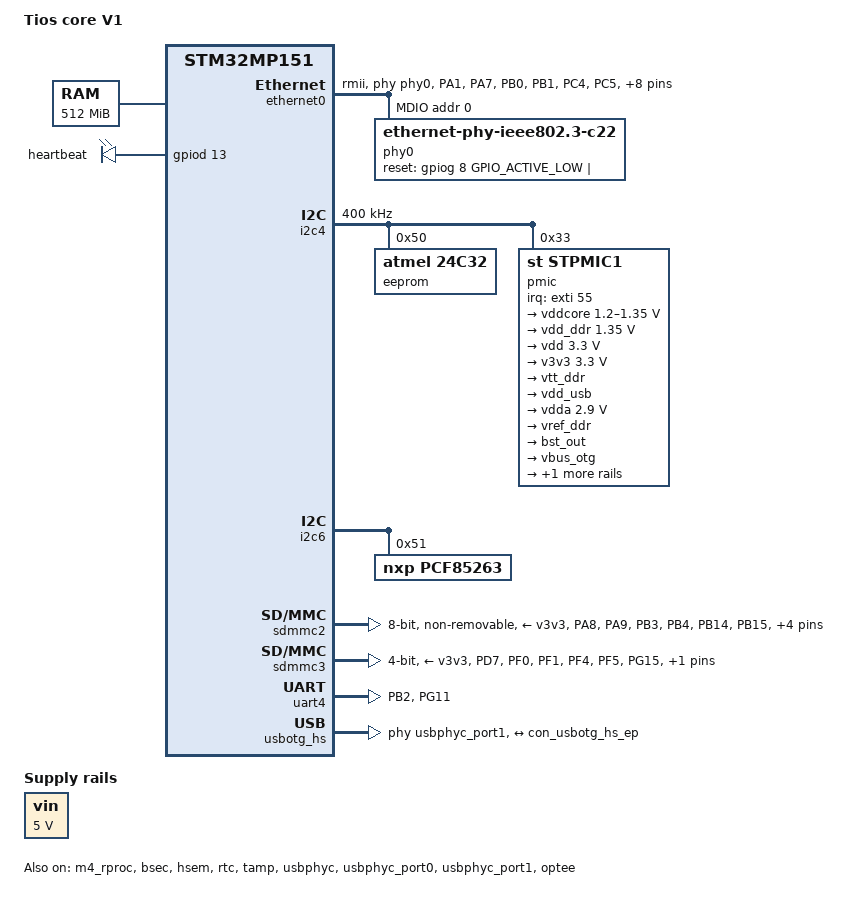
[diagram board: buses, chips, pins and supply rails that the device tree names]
// SPDX-License-Identifier: (GPL-2.0-or-later OR BSD-3-Clause)
/*
 * Copyright (C) 2023, STMicroelectronics - All Rights Reserved
 * Author: STM32CubeMX code generation for STMicroelectronics.
 */

/* For more information on Device Tree configuration, please refer to
 * https://wiki.st.com/stm32mpu/wiki/Category:Device_tree_configuration
 */

/dts-v1/;
/* These need to be at the start */
#include <dt-bindings/pinctrl/stm32-pinfunc.h>

/* Don't think the order matters */
#include "stm32mp151.dtsi"
#include "stm32mp15xa.dtsi"
#include "stm32mp15xxac-pinctrl.dtsi"
#include "stm32mp15-m4-srm.dtsi"

#include "stm32mp151a-tios-scmi.dtsi"
#include <dt-bindings/mfd/st,stpmic1.h>


/ {
	model = "Tios core V1";
	compatible = "st,stm32mp151a-tios-mx", "st,stm32mp151";

	aliases {
		serial0 = &uart4;
	};
	chosen {
		stdout-path = "serial0:115200n8";
	};
	
	memory@c0000000 {
		device_type = "memory";
		reg = <0xc0000000 0x20000000>;
	};

	reserved-memory {
		#address-cells = <1>;
		#size-cells = <1>;
		ranges;
	};

	led {
		compatible = "gpio-leds";
		led-blue {
			label = "heartbeat";
			gpios = <&gpiod 13 GPIO_ACTIVE_HIGH>;
			linux,default-trigger = "heartbeat";
			default-state = "off";
		};
	};

	vin: vin {
		compatible = "regulator-fixed";
		regulator-name = "vin";
		regulator-min-microvolt = <5000000>;
		regulator-max-microvolt = <5000000>;
		regulator-always-on;
	};

	clocks{
	};

}; /*root*/

&pinctrl {
	/* ETHERNET */
	eth1_pins_mx: eth1_mx-0 {
		pins1 {
			pinmux = <STM32_PINMUX('A', 1, AF11)>, /* ETH1_RX_CLK */
					 <STM32_PINMUX('A', 7, AF11)>, /* ETH1_RX_CTL */
					 <STM32_PINMUX('B', 0, AF11)>, /* ETH1_RXD2 */
					 <STM32_PINMUX('B', 1, AF11)>, /* ETH1_RXD3 */
					 <STM32_PINMUX('C', 4, AF11)>, /* ETH1_RXD0 */
					 <STM32_PINMUX('C', 5, AF11)>; /* ETH1_RXD1 */
			bias-disable;
		};
		pins2 {
			pinmux = <STM32_PINMUX('A', 2, AF11)>; /* ETH1_MDIO */
			bias-disable;
			drive-push-pull;
			slew-rate = <0>;
		};
		pins3 {
			pinmux = <STM32_PINMUX('B', 11, AF11)>, /* ETH1_TX_CTL */
					 <STM32_PINMUX('C', 1, AF11)>, /* ETH1_MDC */
					 <STM32_PINMUX('C', 2, AF11)>, /* ETH1_TXD2 */
					 <STM32_PINMUX('E', 2, AF11)>, /* ETH1_TXD3 */
					 <STM32_PINMUX('G', 4, AF11)>, /* ETH1_GTX_CLK */
					 <STM32_PINMUX('G', 13, AF11)>, /* ETH1_TXD0 */
					 <STM32_PINMUX('G', 14, AF11)>; /* ETH1_TXD1 */
			bias-disable;
			drive-push-pull;
			slew-rate = <2>;
		};
	};

	eth1_sleep_pins_mx: eth1_sleep_mx-0 {
		pins {
			pinmux = <STM32_PINMUX('A', 1, ANALOG)>, /* ETH1_RX_CLK */
					 <STM32_PINMUX('A', 2, ANALOG)>, /* ETH1_MDIO */
					 <STM32_PINMUX('A', 7, ANALOG)>, /* ETH1_RX_CTL */
					 <STM32_PINMUX('B', 0, ANALOG)>, /* ETH1_RXD2 */
					 <STM32_PINMUX('B', 1, ANALOG)>, /* ETH1_RXD3 */
					 <STM32_PINMUX('B', 11, ANALOG)>, /* ETH1_TX_CTL */
					 <STM32_PINMUX('C', 1, ANALOG)>, /* ETH1_MDC */
					 <STM32_PINMUX('C', 2, ANALOG)>, /* ETH1_TXD2 */
					 <STM32_PINMUX('C', 4, ANALOG)>, /* ETH1_RXD0 */
					 <STM32_PINMUX('C', 5, ANALOG)>, /* ETH1_RXD1 */
					 <STM32_PINMUX('E', 2, ANALOG)>, /* ETH1_TXD3 */
					 <STM32_PINMUX('G', 4, ANALOG)>, /* ETH1_GTX_CLK */
					 <STM32_PINMUX('G', 13, ANALOG)>, /* ETH1_TXD0 */
					 <STM32_PINMUX('G', 14, ANALOG)>; /* ETH1_TXD1 */
		};
	};
	/* SDMMC2 */
	sdmmc2_pins_mx: sdmmc2_mx-0 {
		pins1 {
			pinmux = <STM32_PINMUX('A', 8, AF9)>,  /* SDMMC2_D4 */
					 <STM32_PINMUX('A', 9, AF10)>, /* SDMMC2_D5 */
					 <STM32_PINMUX('B', 3, AF9)>,  /* SDMMC2_D2 */
					 <STM32_PINMUX('B', 4, AF9)>,  /* SDMMC2_D3 */
					 <STM32_PINMUX('B', 14, AF9)>, /* SDMMC2_D0 */
					 <STM32_PINMUX('B', 15, AF9)>, /* SDMMC2_D1 */
					 <STM32_PINMUX('D', 3, AF9)>,  /* SDMMC2_D7 */
					 <STM32_PINMUX('E', 5, AF9)>,  /* SDMMC2_D6 */
					 <STM32_PINMUX('G', 6, AF10)>; /* SDMMC2_CMD */
			bias-disable;
			drive-push-pull;
			slew-rate = <1>;
		};
		pins2 {
			pinmux = <STM32_PINMUX('E', 3, AF9)>; /* SDMMC2_CK */
			bias-disable;
			drive-push-pull;
			slew-rate = <3>;
		};
	};

	sdmmc2_opendrain_pins_mx: sdmmc2_opendrain_mx-0 {
		pins1 {
			pinmux = <STM32_PINMUX('A', 8, AF9)>,  /* SDMMC2_D4 */
					 <STM32_PINMUX('A', 9, AF10)>, /* SDMMC2_D5 */
					 <STM32_PINMUX('B', 3, AF9)>,  /* SDMMC2_D2 */
					 <STM32_PINMUX('B', 4, AF9)>,  /* SDMMC2_D3 */
					 <STM32_PINMUX('B', 14, AF9)>, /* SDMMC2_D0 */
					 <STM32_PINMUX('B', 15, AF9)>, /* SDMMC2_D1 */
					 <STM32_PINMUX('D', 3, AF9)>,  /* SDMMC2_D7 */
					 <STM32_PINMUX('E', 5, AF9)>;  /* SDMMC2_D6 */
			bias-disable;
			drive-push-pull;
			slew-rate = <1>;
		};
		pins2 {
			pinmux = <STM32_PINMUX('E', 3, AF9)>; /* SDMMC2_CK */
			bias-disable;
			drive-push-pull;
			slew-rate = <3>;
		};
		pins3 {
			pinmux = <STM32_PINMUX('G', 6, AF10)>; /* SDMMC2_CMD */
			bias-disable;
			drive-open-drain;
			slew-rate = <1>;
		};
	};

	sdmmc2_sleep_pins_mx: sdmmc2_sleep_mx-0 {
		pins {
			pinmux = <STM32_PINMUX('A', 8, ANALOG)>,  /* SDMMC2_D4 */
					 <STM32_PINMUX('A', 9, ANALOG)>,  /* SDMMC2_D5 */
					 <STM32_PINMUX('B', 3, ANALOG)>,  /* SDMMC2_D2 */
					 <STM32_PINMUX('B', 4, ANALOG)>,  /* SDMMC2_D3 */
					 <STM32_PINMUX('B', 14, ANALOG)>, /* SDMMC2_D0 */
					 <STM32_PINMUX('B', 15, ANALOG)>, /* SDMMC2_D1 */
					 <STM32_PINMUX('D', 3, ANALOG)>,  /* SDMMC2_D7 */
					 <STM32_PINMUX('E', 3, ANALOG)>,  /* SDMMC2_CK */
					 <STM32_PINMUX('E', 5, ANALOG)>,  /* SDMMC2_D6 */
					 <STM32_PINMUX('G', 6, ANALOG)>;  /* SDMMC2_CMD */
		};
	};
	/* SDMMC3 */
	sdmmc3_pins_mx: sdmmc3_mx-0 {
		pins1 {
			pinmux = <STM32_PINMUX('D', 7, AF10)>,/* SDMMC3_D3 */
					 <STM32_PINMUX('F', 0, AF9)>, /* SDMMC3_D0 */
					 <STM32_PINMUX('F', 1, AF9)>, /* SDMMC3_CMD */
					 <STM32_PINMUX('F', 4, AF9)>, /* SDMMC3_D1 */
					 <STM32_PINMUX('F', 5, AF9)>; /* SDMMC3_D2 */
			bias-disable;
			drive-push-pull;
			slew-rate = <1>;
		};
		pins2 {
			pinmux = <STM32_PINMUX('G', 15, AF10)>; /* SDMMC3_CK */
			bias-disable;
			drive-push-pull;
			slew-rate = <3>;
		};
	};

	sdmmc3_opendrain_pins_mx: sdmmc3_opendrain_mx-0 {
		pins1 {
			pinmux = <STM32_PINMUX('D', 7, AF10)>,/* SDMMC3_D3 */
					 <STM32_PINMUX('F', 0, AF9)>, /* SDMMC3_D0 */
					 <STM32_PINMUX('F', 4, AF9)>, /* SDMMC3_D1 */
					 <STM32_PINMUX('F', 5, AF9)>; /* SDMMC3_D2 */
			bias-disable;
			drive-push-pull;
			slew-rate = <1>;
		};
		pins2 {
			pinmux = <STM32_PINMUX('F', 1, AF9)>; /* SDMMC3_CMD */
			bias-disable;
			drive-open-drain;
			slew-rate = <1>;
		};
		pins3 {
			pinmux = <STM32_PINMUX('G', 15, AF10)>; /* SDMMC3_CK */
			bias-disable;
			drive-push-pull;
			slew-rate = <3>;
		};
	};

	sdmmc3_sleep_pins_mx: sdmmc3_sleep_mx-0 {
		pins {
			pinmux = <STM32_PINMUX('D', 7, ANALOG)>,  /* SDMMC3_D3 */
					 <STM32_PINMUX('F', 0, ANALOG)>,  /* SDMMC3_D0 */
					 <STM32_PINMUX('F', 1, ANALOG)>,  /* SDMMC3_CMD */
					 <STM32_PINMUX('F', 4, ANALOG)>,  /* SDMMC3_D1 */
					 <STM32_PINMUX('F', 5, ANALOG)>,  /* SDMMC3_D2 */
					 <STM32_PINMUX('G', 15, ANALOG)>; /* SDMMC3_CK */
		};
	};
	/* UART4 */
	uart4_pins_mx: uart4_mx-0 {
		pins1 {
			pinmux = <STM32_PINMUX('B', 2, AF8)>; /* UART4_RX */
			bias-disable;
		};
		pins2 {
			pinmux = <STM32_PINMUX('G', 11, AF6)>; /* UART4_TX */
			bias-disable;
			drive-push-pull;
			slew-rate = <0>;
		};
	};

	uart4_idle_pins_mx: uart4_idle_mx-0 {
		pins1 {
			pinmux = <STM32_PINMUX('B', 2, AF8)>; /* UART4_RX */
			bias-disable;
		};
		pins2 {
			pinmux = <STM32_PINMUX('G', 11, ANALOG)>; /* UART4_TX */
		};
	};

	uart4_sleep_pins_mx: uart4_sleep_mx-0 {
		pins {
			pinmux = <STM32_PINMUX('B', 2, ANALOG)>, /* UART4_RX */
					 <STM32_PINMUX('G', 11, ANALOG)>; /* UART4_TX */
		};
	};
};

&pinctrl_z {
	/* I2C4 -> PMIC, EEPROM */
	i2c4_pins_z_mx: i2c4_mx-0 {
		pins {
			pinmux = <STM32_PINMUX('Z', 4, AF6)>, /* I2C4_SCL */
					 <STM32_PINMUX('Z', 5, AF6)>; /* I2C4_SDA */
			bias-disable;
			drive-open-drain;
			slew-rate = <0>;
		};
	};
	i2c4_sleep_pins_z_mx: i2c4_sleep_mx-0 {
		pins {
			pinmux = <STM32_PINMUX('Z', 4, ANALOG)>, /* I2C4_SCL */
					 <STM32_PINMUX('Z', 5, ANALOG)>; /* I2C4_SDA */
		};
	};
	/* I2C6 -> RTC*/
	i2c6_pins_z_mx: i2c6_mx-0 {
		pins {
			pinmux = <STM32_PINMUX('Z', 0, AF2)>, /* I2C6_SCL */
					 <STM32_PINMUX('Z', 1, AF2)>; /* I2C6_SDA */
			bias-disable;
			drive-open-drain;
			slew-rate = <0>;
		};
	};

	i2c6_sleep_pins_z_mx: i2c6_sleep_mx-0 {
		pins {
			pinmux = <STM32_PINMUX('Z', 0, ANALOG)>, /* I2C6_SCL */
					 <STM32_PINMUX('Z', 1, ANALOG)>; /* I2C6_SDA */
		};
	};
};

&m4_rproc{
	status = "okay";

	mboxes = <&ipcc 0>, <&ipcc 1>, <&ipcc 2>, <&ipcc 3>;
	mbox-names = "vq0", "vq1", "shutdown";
	interrupt-parent = <&exti>;
	interrupts = <68 1>;
	wakeup-source;

	m4_system_resources{
		status = "okay";
	};
};

&bsec{
	status = "okay";
};

&dma1{
	status = "okay";
};

&dma2{
	status = "disabled";
};

&dmamux1{
	status = "okay";

	dma-masters = <&dma1>;
	dma-channels = <8>;
};

&hsem{
	status = "okay";
};
&ethernet0{
	/* Source https://wiki.st.com/stm32mpu/wiki/Ethernet_device_tree_configuration */
	pinctrl-names = "default", "sleep";
	pinctrl-0 = <&eth1_pins_mx>;
	pinctrl-1 = <&eth1_sleep_pins_mx>;
	status = "okay";

	/* USER CODE BEGIN ethernet0 */
	phy-mode = "rmii";
	max-speed = <100>;
	phy-handle = <&phy0>;
	mdio0 {
		   #address-cells = <1>;
		   #size-cells = <0>;
		   compatible = "snps,dwmac-mdio";
		   phy0: ethernet-phy@0 {
				compatible = "ethernet-phy-ieee802.3-c22"; // Specific for the LAN8720A
				reset-gpios = <&gpiog 8 GPIO_ACTIVE_LOW | GPIO_PULL_UP>  
				reset-assert-us = <1000>;
				reset-deassert-us = <1000>;
				reg = <0>;
		   };
	};
	/* USER CODE END ethernet0 */
};
&i2c4{
	pinctrl-names = "default", "sleep";
	pinctrl-0 = <&i2c4_pins_z_mx>;
	pinctrl-1 = <&i2c4_sleep_pins_z_mx>;
	i2c-scl-rising-time-ns = <185>;
	i2c-scl-falling-time-ns = <20>;
	clock-frequency = <400000>;
	status = "okay";

	/* spare dmas for other usage */
	/delete-property/dmas;
	/delete-property/dma-names;

	eeprom@50 {
		compatible = "atmel,24c32";
		reg = <0x50>;
		pagesize = <32>;
		//wp-gpios = <&gpioa 14 0>;
		//num-addresses = <8>;
	};
	pmic: stpmic@33 {
		compatible = "st,stpmic1";
		reg = <0x33>;
		interrupts-extended = <&exti 55 IRQ_TYPE_EDGE_FALLING>;
		interrupt-controller;
		#interrupt-cells = <2>;
		status = "okay";
		
		regulators {
		    compatible = "st,stpmic1-regulators";
			buck1-supply = <&vin>;
			buck2-supply = <&vin>;
			buck3-supply = <&vin>;
			buck4-supply = <&vin>;
			ldo3-supply = <&vdd_ddr>;
			ldo4-supply = <&vin>;
			ldo5-supply = <&vin>;
			boost-supply = <&vin>;
			pwr_sw1-supply = <&bst_out>;
			pwr_sw2-supply = <&bst_out>;

			vddcore: buck1 {
				regulator-name = "vddcore";
				regulator-min-microvolt = <1200000>;
				regulator-max-microvolt = <1350000>;
				regulator-always-on;
				regulator-initial-mode = <0>;
				regulator-over-current-protection;
			};

			vdd_ddr: buck2 {
				regulator-name = "vdd_ddr";
				regulator-min-microvolt = <1350000>;
				regulator-max-microvolt = <1350000>;
				regulator-always-on;
				regulator-initial-mode = <0>;
				regulator-over-current-protection;
			};

			vdd: buck3 {
				regulator-name = "vdd";
				regulator-min-microvolt = <3300000>;
				regulator-max-microvolt = <3300000>;
				regulator-always-on;
				st,mask-reset;
				regulator-initial-mode = <0>;
				regulator-over-current-protection;
			};

			v3v3: buck4 {
				regulator-name = "v3v3";
				regulator-min-microvolt = <3300000>;
				regulator-max-microvolt = <3300000>;
				regulator-always-on;
				regulator-over-current-protection;
				regulator-initial-mode = <0>;
			};

			vtt_ddr: ldo3 {
				regulator-name = "vtt_ddr";
				regulator-always-on;
				regulator-over-current-protection;
				st,regulator-sink-source;
			};
			vdd_usb: ldo4 {
				regulator-name = "vdd_usb";
				interrupts = <IT_CURLIM_LDO4 0>;
			};
			vdda: ldo5 {
				regulator-name = "vdda";
				regulator-min-microvolt = <2900000>;
				regulator-max-microvolt = <2900000>;
				interrupts = <IT_CURLIM_LDO5 0>;
				regulator-boot-on;
			};
			vref_ddr: vref_ddr {
				regulator-name = "vref_ddr";
				regulator-always-on;
			};
			bst_out: boost {
				regulator-name = "bst_out";
				interrupts = <IT_OCP_BOOST 0>;
			 };

			vbus_otg: pwr_sw1 {
				regulator-name = "vbus_otg";
				interrupts = <IT_OCP_OTG 0>;
			 };

			 vbus_sw: pwr_sw2 {
				regulator-name = "vbus_sw";
				interrupts = <IT_OCP_SWOUT 0>;
				regulator-active-discharge = <1>;
			 };	
		};
		onkey {
			compatible = "st,stpmic1-onkey";
			interrupts = <IT_PONKEY_F 0>, <IT_PONKEY_R 0>;
			interrupt-names = "onkey-falling", "onkey-rising";
			power-off-time-sec = <10>;
			status = "disabled";
		};

		watchdog {
			compatible = "st,stpmic1-wdt";
			status = "disabled";
		};
	};
};
&i2c6{
	pinctrl-names = "default", "sleep";
	pinctrl-0 = <&i2c6_pins_z_mx>;
	pinctrl-1 = <&i2c6_sleep_pins_z_mx>;
	status = "okay";

	/* 6.1 kernel: https://elixir.bootlin.com/linux/v6.1.28/source/Documentation/devicetree/bindings/rtc/nxp,pcf8563.yaml  */
	/* 6.3 Kernel: https://elixir.bootlin.com/linux/v6.3/source/Documentation/devicetree/bindings/rtc/nxp,pcf85363.yaml */
	pcf85263: pcf85263@51 {
		compatible = "nxp,pcf85263";
		reg = <0x51>;
/*
		interrupt-parent = <&gpio1>;
		interrupts = <18 IRQ_TYPE_EDGE_FALLING>;

		#include <dt-bindings/rtc/pcf85363.h>
		wakeup-source;
		interrupt-output-pin = "INTB";
		quartz-load-capacitance = "PCF85263_QUARTZCAP_7pF";
		quartz-drive-strength = "PCF85263_QUARTZDRIVE_60ko";
*/
		status = "okay";
	};
};
&m4_dma2{
	status = "okay";
};

&mdma1{
	status = "okay";
};

&rcc{
	status = "okay";
};

&rtc{
	status = "okay";
};

// https://wiki.st.com/stm32mpu/wiki/SDMMC_device_tree_configuration
&sdmmc2{
	pinctrl-names = "default", "opendrain", "sleep";
	pinctrl-0 = <&sdmmc2_pins_mx>;
	pinctrl-1 = <&sdmmc2_opendrain_pins_mx>;
	pinctrl-2 = <&sdmmc2_sleep_pins_mx>;
	status = "okay";

	non-removable;
	no-sd;
	no-sdio;
	st,neg-edge;
	bus-width = <8>;
	vmmc-supply = <&v3v3>;
	vqmmc-supply = <&vdd>;
	mmc-ddr-3_3v;
};
// https://wiki.st.com/stm32mpu/wiki/SDMMC_device_tree_configuration
&sdmmc3{
	pinctrl-names = "default", "opendrain", "sleep";
	pinctrl-0 = <&sdmmc3_pins_mx>;
	pinctrl-1 = <&sdmmc3_opendrain_pins_mx>;
	pinctrl-2 = <&sdmmc3_sleep_pins_mx>;
	status = "okay";

	cd-gpios = <&gpioe 0 (GPIO_ACTIVE_LOW | GPIO_PULL_UP)>;
	disable-wp;
	st,neg-edge;
	bus-width = <4>;
	vmmc-supply = <&v3v3>;
};
&tamp{
	status = "okay";
};

&uart4{
	pinctrl-names = "default", "idle", "sleep";
	pinctrl-0 = <&uart4_pins_mx>;
	pinctrl-1 = <&uart4_idle_pins_mx>;
	pinctrl-2 = <&uart4_sleep_pins_mx>;
	status = "okay";
};

&usbotg_hs{
	phys = <&usbphyc_port1 0>;
	phy-names = "usb2-phy";
	usb-role-switch;
	status = "okay";
	
	port {
		usbotg_hs_ep: endpoint {
			remote-endpoint = <&con_usbotg_hs_ep>;
		};
	};
};

&usbphyc{
	status = "okay";
};

&usbphyc_port0{
	phy-supply = <&vdd_usb>;
	st,tune-hs-dc-level = <2>;
	st,enable-fs-rftime-tuning;
	st,enable-hs-rftime-reduction;
	st,trim-hs-current = <15>;
	st,trim-hs-impedance = <1>;
	st,tune-squelch-level = <3>;
	st,tune-hs-rx-offset = <2>;
	st,no-lsfs-sc;

	status = "okay";
};

&usbphyc_port1{
	phy-supply = <&vdd_usb>;
	st,tune-hs-dc-level = <2>;
	st,enable-fs-rftime-tuning;
	st,enable-hs-rftime-reduction;
	st,trim-hs-current = <15>;
	st,trim-hs-impedance = <1>;
	st,tune-squelch-level = <3>;
	st,tune-hs-rx-offset = <2>;
	st,no-lsfs-sc;
	
	status = "okay";
};

&pwr_regulators {
	vdd-supply = <&vdd>;
	vdd_3v3_usbfs-supply = <&vdd_usb>;
};
&optee {
	status = "okay";
};
&cpu0 {
 	clock-frequency = <650000000>;
	cpu-supply = <&vddcore>;
};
